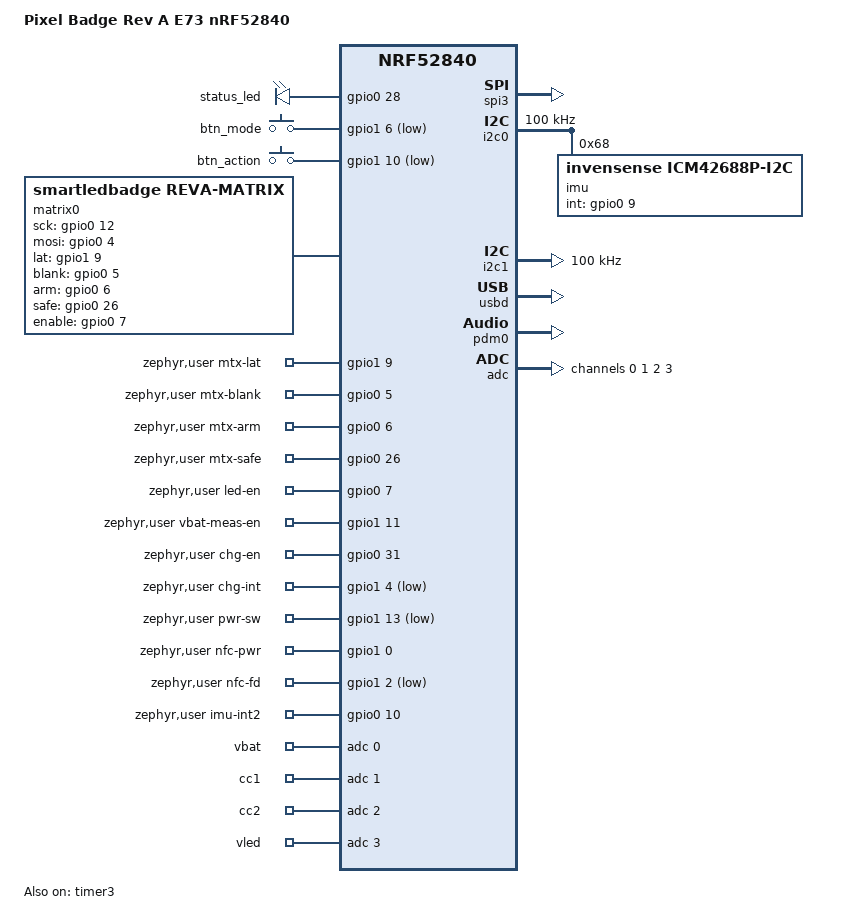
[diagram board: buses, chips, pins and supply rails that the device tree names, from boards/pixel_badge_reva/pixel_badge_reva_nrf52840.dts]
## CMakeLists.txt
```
# SPDX-License-Identifier: MIT
cmake_minimum_required(VERSION 3.20.0)
get_filename_component(BADGE_REPOSITORY_ROOT "${CMAKE_CURRENT_SOURCE_DIR}/../.." ABSOLUTE)
get_filename_component(BADGE_COMMON_DIR "${CMAKE_CURRENT_SOURCE_DIR}/../common" ABSOLUTE)
list(APPEND ZEPHYR_EXTRA_MODULES ${BADGE_COMMON_DIR}/src/drivers)
find_package(Zephyr REQUIRED HINTS $ENV{ZEPHYR_BASE})
project(rev_a_nrf52840 LANGUAGES C CXX)
include(${BADGE_COMMON_DIR}/application.cmake)
target_sources(app PRIVATE src/board_safety.cpp)
```

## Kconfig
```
# SPDX-License-Identifier: MIT
rsource "../common/Kconfig"
source "Kconfig.zephyr"
```

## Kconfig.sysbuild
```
# SPDX-License-Identifier: MIT
choice BOOTLOADER
	default BOOTLOADER_MCUBOOT
endchoice
choice MCUBOOT_MODE
	default MCUBOOT_MODE_SWAP_USING_MOVE
endchoice
config PARTITION_MANAGER
	default y
config MCUBOOT_APP_SYNC_UPDATEABLE_IMAGES
	default n
source "share/sysbuild/Kconfig"
```

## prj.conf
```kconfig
# SPDX-License-Identifier: MIT

# C++17 application code. Exceptions and RTTI are disabled by project policy
# (see docs/firmware.md). They are unavailable with Zephyr's minimal C++
# library; the explicit assignments keep them off if a full C++ library is
# selected later.
CONFIG_CPP=y
CONFIG_STD_CPP17=y
CONFIG_CPP_EXCEPTIONS=n
CONFIG_CPP_RTTI=n

# Development logging over SEGGER RTT.
CONFIG_LOG=y
CONFIG_USE_SEGGER_RTT=y
CONFIG_LOG_BACKEND_RTT=y
CONFIG_LOG_BACKEND_UART=n

# Static application frames and QR/settings validation use bounded stack buffers.
CONFIG_MAIN_STACK_SIZE=16384

# SPDX-License-Identifier: MIT
CONFIG_APP_AUDIO=y
CONFIG_APP_AUDIO_CHANNEL=0
CONFIG_DEBUG_COREDUMP=n
CONFIG_BT_L2CAP_TX_MTU=247
CONFIG_BT_BUF_ACL_RX_SIZE=251
CONFIG_BT_BUF_ACL_TX_SIZE=251
CONFIG_BT_BUF_ACL_TX_COUNT=4
CONFIG_BT_CONN_TX_MAX=4
CONFIG_PSA_CRYPTO=y
CONFIG_PSA_WANT_ALG_SHA_256=y
CONFIG_PSA_WANT_ALG_HMAC=y
CONFIG_PSA_WANT_ALG_ECDH=y
CONFIG_PSA_WANT_ALG_GCM=y
CONFIG_PSA_WANT_KEY_TYPE_HMAC=y
CONFIG_PSA_WANT_KEY_TYPE_AES=y
CONFIG_PSA_WANT_KEY_TYPE_ECC_KEY_PAIR_GENERATE=y
CONFIG_PSA_WANT_ECC_SECP_R1_256=y
CONFIG_AUDIO_DMIC_LOG_LEVEL_OFF=y

# One nRF52840 core owns application and Bluetooth controller.
CONFIG_DISPLAY=y
CONFIG_SPI=y
CONFIG_ADC=y
CONFIG_SENSOR=y
CONFIG_I2C=y
CONFIG_AUDIO=y
CONFIG_AUDIO_DMIC=y
CONFIG_APP_PROTOTYPE=y
CONFIG_BT=y
CONFIG_BT_PERIPHERAL=y
CONFIG_BT_SMP=y
CONFIG_BT_SETTINGS=y
CONFIG_BT_SMP_SC_ONLY=y
CONFIG_BT_SMP_ENFORCE_MITM=y
CONFIG_BT_SMP_APP_PAIRING_ACCEPT=y
CONFIG_APP_BLE=y
CONFIG_BT_DEVICE_NAME="Smart LED Badge"
CONFIG_BT_MAX_CONN=1
CONFIG_BT_MAX_PAIRED=1
CONFIG_BT_RX_STACK_SIZE=4096
CONFIG_SYSTEM_WORKQUEUE_STACK_SIZE=2048
CONFIG_REVA_MATRIX_OUTPUT=n
# Low-battery System OFF (APP_POWER_STATES).
CONFIG_POWEROFF=y
# USB device (APP_USB_DEVICE): host configuration enables the 500 mA SDP
# input limit. The CDC ACM interface is inert; no console or shell uses it.
CONFIG_USB_DEVICE_STACK_NEXT=y
CONFIG_SERIAL=y
CONFIG_USBD_CDC_ACM_CLASS=y
CONFIG_CDC_ACM_SERIAL_INITIALIZE_AT_BOOT=n
# Control transfers allocate the host's full wLength from this pool; a
# 4095-byte request failed against the 1024-byte default (board 1:
# "udc: Failed to allocate net_buf 4095, ep 0x80"). Zephyr's USB samples
# use 4096; extra room covers the CDC ACM buffers.
CONFIG_UDC_BUF_POOL_SIZE=6144
CONFIG_USBD_LOG_LEVEL_ERR=y
CONFIG_UDC_DRIVER_LOG_LEVEL_ERR=y
CONFIG_USBD_CDC_ACM_LOG_LEVEL_OFF=y
# Logging runs above the matrix worker (REVA_MATRIX_THREAD_PRIORITY 12).
CONFIG_LOG_PROCESS_THREAD_CUSTOM_PRIORITY=y
CONFIG_LOG_PROCESS_THREAD_PRIORITY=11
```

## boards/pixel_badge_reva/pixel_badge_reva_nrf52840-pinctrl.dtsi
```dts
/* SPDX-License-Identifier: MIT */
#include <zephyr/dt-bindings/pinctrl/nrf-pinctrl.h>
&pinctrl {
	spi3_default: spi3_default {
		group1 {
			psels = <NRF_PSEL(SPIM_SCK, 0, 12)>, <NRF_PSEL(SPIM_MOSI, 0, 4)>, <NRF_PSEL(SPIM_MISO, 0, 8)>;
		};
	};
	spi3_sleep: spi3_sleep {
		group1 {
			psels = <NRF_PSEL(SPIM_SCK, 0, 12)>, <NRF_PSEL(SPIM_MOSI, 0, 4)>, <NRF_PSEL(SPIM_MISO, 0, 8)>;
			low-power-enable;
		};
	};
	i2c0_default: i2c0_default {
		group1 {
			psels = <NRF_PSEL(TWIM_SCL, 0, 15)>, <NRF_PSEL(TWIM_SDA, 0, 17)>;
		};
	};
	i2c0_sleep: i2c0_sleep {
		group1 {
			psels = <NRF_PSEL(TWIM_SCL, 0, 15)>, <NRF_PSEL(TWIM_SDA, 0, 17)>;
			low-power-enable;
		};
	};
	i2c1_default: i2c1_default {
		group1 {
			psels = <NRF_PSEL(TWIM_SCL, 0, 22)>, <NRF_PSEL(TWIM_SDA, 0, 24)>;
		};
	};
	i2c1_sleep: i2c1_sleep {
		group1 {
			psels = <NRF_PSEL(TWIM_SCL, 0, 22)>, <NRF_PSEL(TWIM_SDA, 0, 24)>;
			low-power-enable;
		};
	};
	pdm0_default: pdm0_default {
		group1 {
			psels = <NRF_PSEL(PDM_CLK, 0, 20)>, <NRF_PSEL(PDM_DIN, 0, 13)>;
		};
	};
	pdm0_sleep: pdm0_sleep {
		group1 {
			psels = <NRF_PSEL(PDM_CLK, 0, 20)>, <NRF_PSEL(PDM_DIN, 0, 13)>;
			low-power-enable;
		};
	};
};
```

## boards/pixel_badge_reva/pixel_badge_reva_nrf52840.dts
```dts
/* SPDX-License-Identifier: MIT */
/dts-v1/;
#include <nordic/nrf52840_qiaa.dtsi>
#include <zephyr/dt-bindings/gpio/nordic-nrf-gpio.h>
#include <zephyr/dt-bindings/input/input-event-codes.h>
#include <zephyr/dt-bindings/adc/adc.h>
#include <zephyr/dt-bindings/sensor/icm42688.h>
#include "pixel_badge_reva_nrf52840-pinctrl.dtsi"

/ {
	model = "Pixel Badge Rev A E73 nRF52840";
	compatible = "smart-led-badge,rev-a-nrf52840";
	chosen {
		zephyr,sram = &sram0;
		zephyr,flash = &flash0;
		zephyr,code-partition = &slot0_partition;
		zephyr,display = &matrix0;
	};
	leds {
		compatible = "gpio-leds";
		status_led: status_led { gpios = <&gpio0 28 GPIO_ACTIVE_HIGH>; };
	};
	buttons {
		compatible = "gpio-keys";
		btn_mode: mode { gpios = <&gpio1 6 (GPIO_ACTIVE_LOW | GPIO_PULL_UP)>; zephyr,code = <INPUT_KEY_0>; };
		btn_action: action { gpios = <&gpio1 10 (GPIO_ACTIVE_LOW | GPIO_PULL_UP)>; zephyr,code = <INPUT_KEY_1>; };
	};
	matrix0: matrix {
		compatible = "smartledbadge,reva-matrix";
		width = <32>;
		height = <32>;
		spi = <&spi3>;
		timer = <&timer3>;
		/* Scan SPIM2 drives the same SCK/MOSI pins as spi3_default. */
		scan-spim = <&spi2>;
		plane-timer = <&timer4>;
		sck-gpios = <&gpio0 12 GPIO_ACTIVE_HIGH>;
		mosi-gpios = <&gpio0 4 GPIO_ACTIVE_HIGH>;
		lat-gpios = <&gpio1 9 GPIO_ACTIVE_HIGH>;
		blank-gpios = <&gpio0 5 GPIO_ACTIVE_HIGH>;
		arm-gpios = <&gpio0 6 GPIO_ACTIVE_HIGH>;
		safe-gpios = <&gpio0 26 GPIO_ACTIVE_HIGH>;
		enable-gpios = <&gpio0 7 GPIO_ACTIVE_HIGH>;
	};
	zephyr,user {
		mtx-lat-gpios = <&gpio1 9 GPIO_ACTIVE_HIGH>;
		mtx-blank-gpios = <&gpio0 5 GPIO_ACTIVE_HIGH>;
		mtx-arm-gpios = <&gpio0 6 GPIO_ACTIVE_HIGH>;
		mtx-safe-gpios = <&gpio0 26 GPIO_ACTIVE_HIGH>;
		led-en-gpios = <&gpio0 7 GPIO_ACTIVE_HIGH>;
		vbat-meas-en-gpios = <&gpio1 11 GPIO_ACTIVE_HIGH>;
		chg-en-gpios = <&gpio0 31 GPIO_ACTIVE_HIGH>;
		chg-int-gpios = <&gpio1 4 GPIO_ACTIVE_LOW>;
		pwr-sw-gpios = <&gpio1 13 (GPIO_ACTIVE_LOW | GPIO_PULL_UP)>;
		ntag-i2c-bus = <&i2c1>;
		charger-i2c-bus = <&i2c0>;
		nfc-pwr-gpios = <&gpio1 0 (GPIO_ACTIVE_HIGH | NRF_GPIO_DRIVE_H0H1)>;
		nfc-fd-gpios = <&gpio1 2 GPIO_ACTIVE_LOW>;
		imu-int2-gpios = <&gpio0 10 GPIO_ACTIVE_HIGH>;
		io-channels = <&adc 0>, <&adc 1>, <&adc 2>, <&adc 3>;
		io-channel-names = "vbat", "cc1", "cc2", "vled";
	};
	aliases { led0 = &status_led; sw0 = &btn_mode; sw1 = &btn_action; watchdog0 = &wdt0; imu0 = &imu; };
};
/* VDDH=VDD, normal-voltage supply; external LF load capacitors on the PCB. */
&reg0 { status = "disabled"; };
/* REG1 retains its default LDO mode during initial bring-up. */
&uicr { gpio-as-nreset; nfct-pins-as-gpios; };
&gpiote { status = "okay"; };
&gpio0 { status = "okay"; };
&gpio1 { status = "okay"; };
&timer3 { status = "okay"; };
&spi3 {
	compatible = "nordic,nrf-spim";
	status = "okay";
	pinctrl-0 = <&spi3_default>; pinctrl-1 = <&spi3_sleep>; pinctrl-names = "default", "sleep";
};
&i2c0 {
	compatible = "nordic,nrf-twim";
	/* Standard mode: at 400 kHz the BQ25620 in low-power mode needs >= 68 us
	 * bus-free and repeated-START setup time (SLUSEG2D 8.5), which TWIM
	 * cannot insert; 100 kHz has no extra requirement. */
	status = "okay"; clock-frequency = <I2C_BITRATE_STANDARD>;
	pinctrl-0 = <&i2c0_default>; pinctrl-1 = <&i2c0_sleep>; pinctrl-names = "default", "sleep";
	imu: icm42688@68 {
		compatible = "invensense,icm42688p-i2c"; reg = <0x68>;
		int-gpios = <&gpio0 9 GPIO_ACTIVE_HIGH>;
		accel-pwr-mode = <ICM42688_DT_ACCEL_LN>; accel-odr = <ICM42688_DT_ACCEL_ODR_100>; accel-fs = <ICM42688_DT_ACCEL_FS_2>;
		gyro-pwr-mode = <ICM42688_DT_GYRO_LN>; gyro-odr = <ICM42688_DT_GYRO_ODR_100>; gyro-fs = <ICM42688_DT_GYRO_FS_2000>;
	};
	/* BQ25620 at 0x6B shares this bus (zephyr,user charger-i2c-bus). */
};
&i2c1 {
	compatible = "nordic,nrf-twim";
	status = "okay"; clock-frequency = <I2C_BITRATE_STANDARD>;
	pinctrl-0 = <&i2c1_default>; pinctrl-1 = <&i2c1_sleep>; pinctrl-names = "default", "sleep";
};
/* E73 USB: D+ pin 31, D- pin 29, VBUS pin 27 (docs/power.md). The firmware's
 * only USB function is an inert CDC ACM interface that lets the host configure
 * the badge for the 500 mA SDP input limit. */
zephyr_udc0: &usbd {
	compatible = "nordic,nrf-usbd";
	status = "okay";
	cdc_acm_uart0: cdc_acm_uart0 {
		compatible = "zephyr,cdc-acm-uart";
	};
};
&pdm0 { status = "okay"; pinctrl-0 = <&pdm0_default>; pinctrl-1 = <&pdm0_sleep>; pinctrl-names = "default", "sleep"; };
&adc {
	status = "okay"; #address-cells = <1>; #size-cells = <0>;
	channel@0 { reg = <0>; zephyr,gain = "ADC_GAIN_1_4"; zephyr,reference = "ADC_REF_INTERNAL"; zephyr,acquisition-time = <ADC_ACQ_TIME(ADC_ACQ_TIME_MICROSECONDS, 10)>; zephyr,input-positive = <NRF_SAADC_AIN6>; zephyr,resolution = <12>; };
	channel@1 { reg = <1>; zephyr,gain = "ADC_GAIN_2"; zephyr,reference = "ADC_REF_INTERNAL"; zephyr,acquisition-time = <ADC_ACQ_TIME(ADC_ACQ_TIME_MICROSECONDS, 10)>; zephyr,input-positive = <NRF_SAADC_AIN0>; zephyr,resolution = <12>; };
	channel@2 { reg = <2>; zephyr,gain = "ADC_GAIN_2"; zephyr,reference = "ADC_REF_INTERNAL"; zephyr,acquisition-time = <ADC_ACQ_TIME(ADC_ACQ_TIME_MICROSECONDS, 10)>; zephyr,input-positive = <NRF_SAADC_AIN1>; zephyr,resolution = <12>; };
	channel@3 { reg = <3>; zephyr,gain = "ADC_GAIN_4"; zephyr,reference = "ADC_REF_INTERNAL"; zephyr,acquisition-time = <ADC_ACQ_TIME(ADC_ACQ_TIME_MICROSECONDS, 10)>; zephyr,input-positive = <NRF_SAADC_AIN5>; zephyr,resolution = <12>; };
};
&flash0 {
	partitions {
		compatible = "fixed-partitions"; #address-cells = <1>; #size-cells = <1>;
		boot_partition: partition@0 { label = "mcuboot"; reg = <0x0 0x10000>; };
		slot0_partition: partition@10000 { label = "image-0"; reg = <0x10000 0x50000>; };
		slot1_partition: partition@60000 { label = "image-1"; reg = <0x60000 0x50000>; };
		artwork_storage: partition@b0000 { label = "artwork-storage"; reg = <0xb0000 0x42000>; };
		reserved_partition: partition@f2000 { label = "reserved"; reg = <0xf2000 0x6000>; };
		storage_partition: partition@f8000 { label = "storage"; reg = <0xf8000 0x8000>; };
	};
};
```

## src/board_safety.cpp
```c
/* SPDX-License-Identifier: MIT */
#include <zephyr/drivers/gpio.h>
#include <zephyr/init.h>
#include <zephyr/kernel.h>
#define USER DT_PATH(zephyr_user)
namespace
{
int safe_outputs()
{
	const gpio_dt_spec outputs[] = {
		GPIO_DT_SPEC_GET(USER, mtx_blank_gpios),    GPIO_DT_SPEC_GET(USER, mtx_arm_gpios),
		GPIO_DT_SPEC_GET(USER, led_en_gpios),       GPIO_DT_SPEC_GET(USER, chg_en_gpios),
		GPIO_DT_SPEC_GET(USER, vbat_meas_en_gpios), GPIO_DT_SPEC_GET(USER, nfc_pwr_gpios),
	};
	for (unsigned i = 0; i < ARRAY_SIZE(outputs); ++i) {
		if (!gpio_is_ready_dt(&outputs[i])) {
			return -ENODEV;
		}
		int rc = gpio_pin_configure_dt(&outputs[i],
					       i == 0 ? GPIO_OUTPUT_ACTIVE : GPIO_OUTPUT_INACTIVE);
		if (rc != 0) {
			return rc;
		}
	}
	return 0;
}
} // namespace
/* GPIO drivers initialize before this; the display initializes afterwards. */
SYS_INIT(safe_outputs, POST_KERNEL, 60);
```
